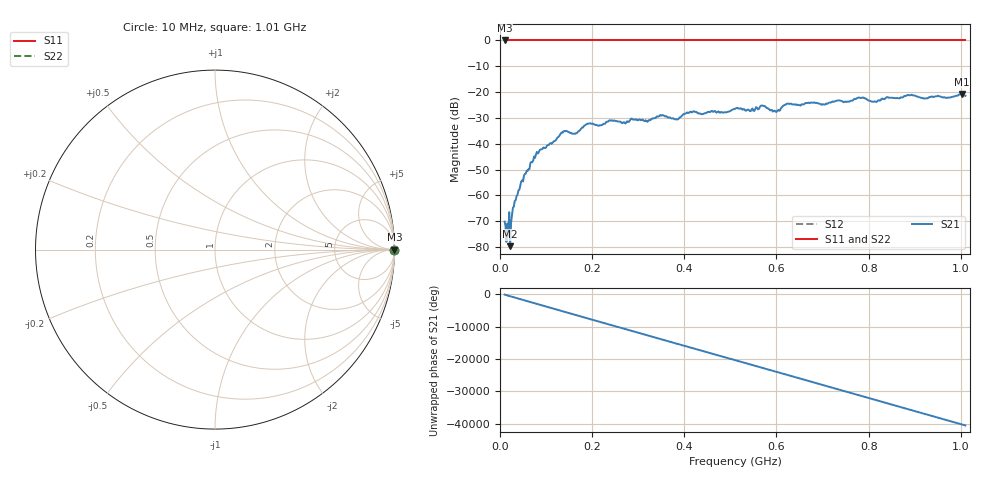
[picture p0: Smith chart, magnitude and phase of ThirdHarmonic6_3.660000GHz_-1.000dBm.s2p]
! 8/17/2025 12:20:43 PM
! C:\ANRITSUVNA\TEMP\TEMP.S2P
! CHANNEL.1
! TR.MEASUREMENT
! RAW.DATA
! RF.CORRECTION.OFF
! AVERAGING.OFF
! IF.BANDWIDTH: 5KHZ
! SWEEPTYPE:  FREQ.SWEEP(Linear)
! Reference Plane Port Info
! PORT:  PORT1  PORT2
! DISTANCE:  0  m  0  m
! TIME:  0  s  0  s
! PHASE.OFFSET:  0  deg.  0  deg.
! LOSS:  0  dB  0  dB
! REF.LOSS:  0  dB  0  dB
! REF.FREQ:  0  Hz  0  Hz
! Power Info
! POWER:  -20  dBm  -20  dBm
! EFF.POWER:  -20  dBm  -20  dBm
! SOURCE.ATTEN:  0  dB  0  dB
! TEST.ATTEN:  0  dB  0  dB
# GHZ S RI R 50.0
! FREQ.GHZ  S11RE  S11IM  S21RE  S21IM  S12RE  S12IM  S22RE  S22IM
!; PortSelection: Port_12
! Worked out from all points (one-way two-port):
!   501 points, 10 MHz to 1.01 GHz, reference 50 ohm
!   highest |S21| = -20.73 dB at 1.002 GHz (marker M1); lowest = -79.6 dB at 22 MHz (marker M2)
!   lowest |S11| = 0.0 dB at 10 MHz (marker M3)
!   |S11| at or under -10 dB: nowhere
!   |S22| runs from 0.0 to 0.0 dB; largest |S21 - S12| = 1.1
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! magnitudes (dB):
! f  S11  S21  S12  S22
! 10 MHz  0.0  -70.1  0.0  0.0
! 18 MHz  0.0  -75.5  0.0  0.0
! 22 MHz  0.0  -79.6  0.0  0.0
! 32 MHz  0.0  -62.1  0.0  0.0
! 44 MHz  0.0  -56.3  0.0  0.0
! 78 MHz  0.0  -44.1  0.0  0.0
! 136 MHz  0.0  -35.7  0.0  0.0
! 162 MHz  0.0  -36.0  0.0  0.0
! 178 MHz  0.0  -33.7  0.0  0.0
! 192 MHz  0.0  -32.2  0.0  0.0
! 322 MHz  0.0  -31.0  0.0  0.0
! 344 MHz  0.0  -29.5  0.0  0.0
! 382 MHz  0.0  -30.5  0.0  0.0
! 416 MHz  0.0  -27.8  0.0  0.0
! 510 MHz  0.0  -26.4  0.0  0.0
! 570 MHz  0.0  -25.2  0.0  0.0
! 596 MHz  0.0  -27.2  0.0  0.0
! 622 MHz  0.0  -24.6  0.0  0.0
! 678 MHz  0.0  -24.1  0.0  0.0
! 844 MHz  0.0  -22.2  0.0  0.0
! 1.002 GHz  0.0  -20.7  0.0  0.0
! 1.01 GHz  0.0  -21.4  0.0  0.0
